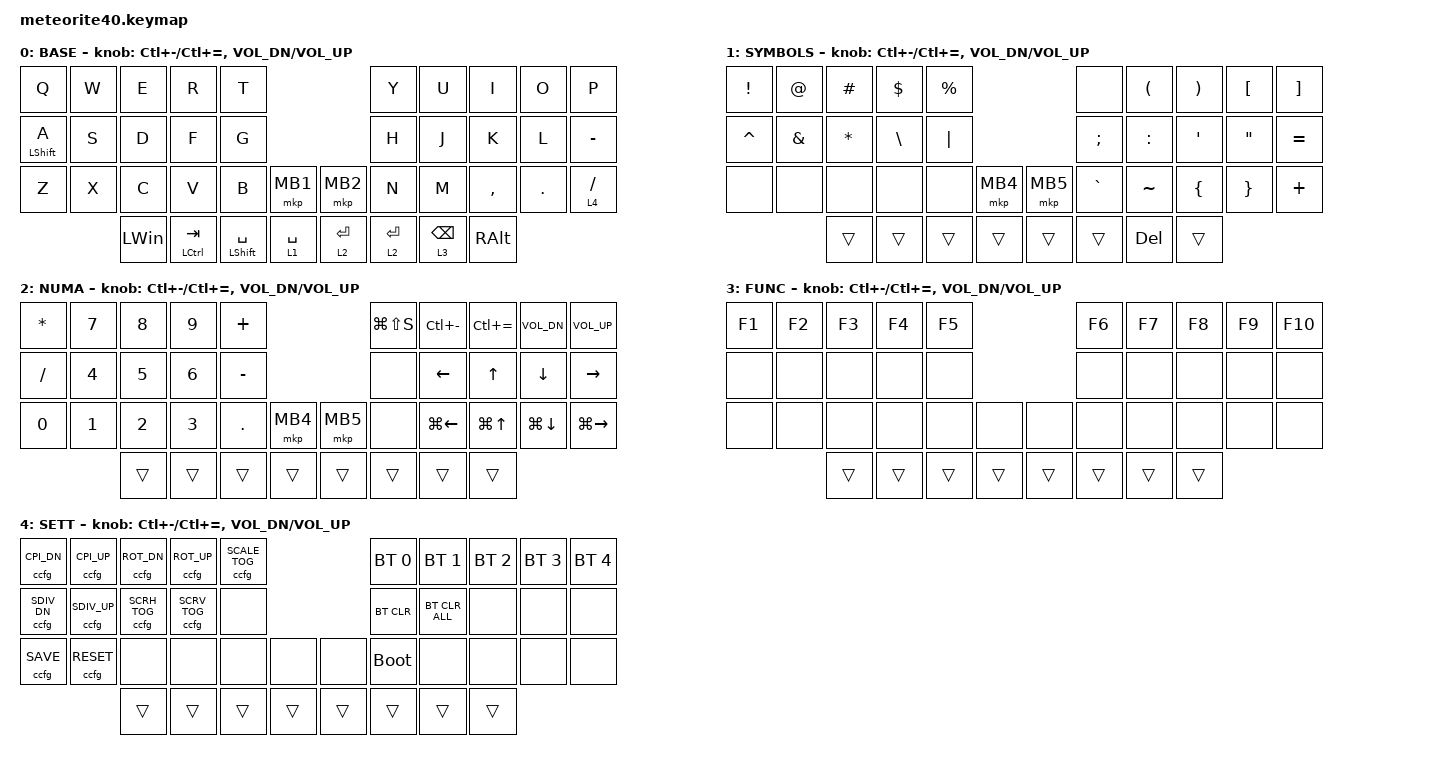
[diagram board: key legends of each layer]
#include <behaviors.dtsi>
#include <dt-bindings/zmk/bt.h>
#include <dt-bindings/zmk/keys.h>
#include <behaviors/custom_config.dtsi>
#include <dt-bindings/zmk/custom_config.h>

#define ZMK_POINTING_DEFAULT_SCRL_VAL 200
#include <dt-bindings/zmk/pointing.h>

/* ZMK v4 / Prospector レイヤー定義 */
#define L_BASE 0
#define L_SYMB 1
#define L_NUMA 2
#define L_FUNC 3
#define L_SETT 4

&mt { 
    flavor = "tap-preferred";
    tapping-term-ms = <200>;
    quick-tap-ms = <150>;
};

&lt {
    flavor = "tap-preferred";
    tapping-term-ms = <150>;
    quick-tap-ms = <150>;
};

/ { 
    behaviors {
        mouse_scroll: mouse_wheel {
            compatible = "zmk,behavior-sensor-rotate-var";
            #sensor-binding-cells = <2>;
            bindings = <&msc>, <&msc>;
            tap-ms = <25>;
        };
    };

    /* 【修正箇所】数字の2を直接指定してエラーを回避します */
    zip_xy_scaler: zip_xy_scaler {
        compatible = "zmk,input-processor-scaler";
        #input-processor-cells = <2>;
        type = <2>;  /* 2 = INPUT_REL_XY */
    };

    input_processors {
        compatible = "zmk,input-processors";
    };

    combos {
        compatible = "zmk,combos";

        lang1 {
            bindings = <&kp LANG1>;
            key-positions = <12 13>;
            layers = <0>;
        };

        lang2 {
            bindings = <&kp LANG2>;
            key-positions = <16 17>;
            layers = <0>;
        };

        esc {
            bindings = <&kp ESCAPE>;
            key-positions = <20 21>;
            layers = <0>;
        };

        tab {
            bindings = <&kp TAB>;
            key-positions = <0 1>;
            layers = <0>;
        };

        home {
            bindings = <&kp HOME>;
            key-positions = <16 17>;
            layers = <2>;
        };

        end {
            bindings = <&kp END>;
            key-positions = <18 19>;
            layers = <2>;
        };

        ctrl_home {
            bindings = <&kp LC(HOME)>;
            key-positions = <16 18>;
            layers = <2>;
        };

        ctrl_end {
            bindings = <&kp LC(END)>;
            key-positions = <17 19>;
            layers = <2>;
        };
    };

    keymap {
        compatible = "zmk,keymap";
        layout = &LAYOUT_2U_SPACE;

        win_default_layer {
            display-name = "BASE";
            bindings = <
                &kp Q        &kp W       &kp E        &kp R        &kp T                                  &kp Y        &kp U       &kp I       &kp O  &kp P
                &mt LSHIFT A &kp S       &kp D        &kp F        &kp G                                  &kp H        &kp J       &kp K       &kp L  &kp MINUS
                &kp Z        &kp X       &kp C        &kp V        &kp B        &mkp MB1     &mkp MB2    &kp N        &kp M       &kp COMMA   &kp DOT  &lt 4 SLASH
                                    &kp LWIN  &mt LCTRL TAB  &mt LSHIFT SPACE  &lt 1 SPACE  &lt 2 ENTER  &lt 2 ENTER  &lt 3 BSPC  &kp RALT
            >;

            sensor-bindings =
                <&inc_dec_kp LC(MINUS) LC(EQUAL)>, 
                <&inc_dec_kp C_VOL_DN C_VOL_UP>;
        };

        layer_1 {
            display-name = "SYMBOLS";
            bindings = <
                &kp EXCL   &kp AT    &kp HASH  &kp DLLR  &kp PRCNT                       &none      &kp LPAR   &kp RPAR   &kp LBKT   &kp RBKT
                &kp CARET  &kp AMPS  &kp STAR  &kp BSLH  &kp PIPE                        &kp SEMI   &kp COLON  &kp SQT    &kp DQT    &kp EQUAL
                &none      &none     &none     &none     &none      &mkp MB4  &mkp MB5   &kp GRAVE  &kp TILDE  &kp LBRC   &kp RBRC   &kp PLUS
                                     &trans    &trans    &trans    &trans    &trans     &trans    &kp DEL     &trans
            >;

            sensor-bindings =
                <&inc_dec_kp LC(MINUS) LC(EQUAL)>,
                <&inc_dec_kp C_VOL_DN C_VOL_UP>;
        };

        layer_2 {
            display-name = "NUMA";
            bindings = <
                &kp ASTRK        &kp N7     &kp N8     &kp N9     &kp PLUS                        &kp LG(LS(S)) &kp LC(MINUS) &kp LC(EQUAL) &kp C_VOL_DN &kp C_VOL_UP
                &kp SLASH        &kp N4     &kp N5     &kp N6     &kp MINUS                       &none         &kp LEFT      &kp UP        &kp DOWN     &kp RIGHT
                &kp N0           &kp N1     &kp N2     &kp N3     &kp DOT   &mkp MB4   &mkp MB5   &none         &kp LG(LEFT)  &kp LG(UP)    &kp LG(DOWN) &kp LG(RIGHT)
                                         &trans            &trans     &trans     &trans    &trans         &trans  &trans    &trans
            >;

            sensor-bindings =
                <&inc_dec_kp LC(MINUS) LC(EQUAL)>,
                <&inc_dec_kp C_VOL_DN C_VOL_UP>;
        };

        layer_3 {
            display-name = "FUNC";
            bindings = <
                &kp F1  &kp F2  &kp F3  &kp F4  &kp F5                  &kp F6  &kp F7  &kp F8  &kp F9  &kp F10
                &none   &none   &none   &none   &none                   &none   &none   &none   &none   &none
                &none   &none   &none   &none   &none   &none   &none   &none   &none   &none    &none  &none
                                &trans  &trans  &trans  &trans  &trans  &trans  &trans  &trans
            >;

            sensor-bindings =
                <&inc_dec_kp LC(MINUS) LC(EQUAL)>,
                <&inc_dec_kp C_VOL_DN C_VOL_UP>;
        };

        layer_4 {
            display-name = "SETT";
            bindings = <
                &ccfg C_CPI_DN  &ccfg C_CPI_UP  &ccfg C_ROT_DN   &ccfg C_ROT_UP   &ccfg C_SCALE_TOG                  &bt BT_SEL 0   &bt BT_SEL 1    &bt BT_SEL 2  &bt BT_SEL 3  &bt BT_SEL 4
                &ccfg C_SDIV_DN &ccfg C_SDIV_UP &ccfg C_SCRH_TOG &ccfg C_SCRV_TOG &none                              &bt BT_CLR     &bt BT_CLR_ALL  &none         &none         &none
                &ccfg C_SAVE    &ccfg C_RESET   &none          &none          &none                 &none &none      &bootloader    &none           &none         &none         &none
                                                            &trans       &trans  &trans  &trans  &trans  &trans    &trans        &trans
            >;

            sensor-bindings =
                <&inc_dec_kp LC(MINUS) LC(EQUAL)>,
                <&inc_dec_kp C_VOL_DN C_VOL_UP>;
        };
    };
};
